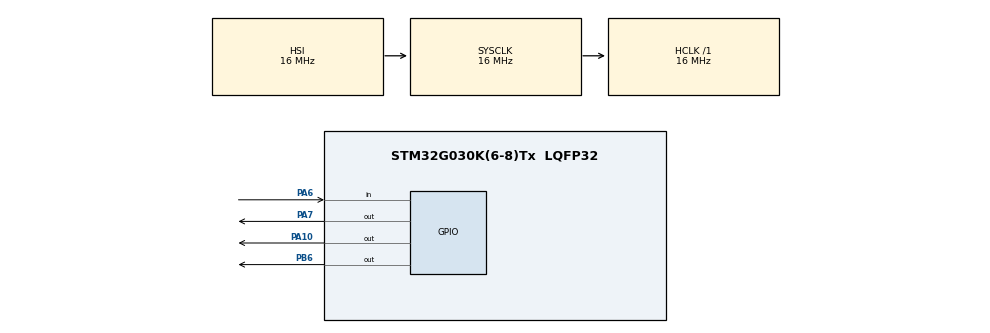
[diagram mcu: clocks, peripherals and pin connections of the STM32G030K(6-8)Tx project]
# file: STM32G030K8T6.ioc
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Mcu.Family=STM32G0
Mcu.Name=STM32G030K(6-8)Tx
Mcu.Package=LQFP32
PA10.Signal=GPIO_Output
PA6.Signal=GPIO_Input
PA7.Signal=GPIO_Output
PB6.Signal=GPIO_Output
ProjectManager.HeapSize=0x200
ProjectManager.StackSize=0x400
ProjectManager.TargetToolchain=STM32CubeIDE
RCC.AHBFreq_Value=16000000
RCC.CortexFreq_Value=16000000
RCC.EXTERNAL_CLOCK_VALUE=12288000
RCC.HCLKFreq_Value=16000000
RCC.HSE_VALUE=8000000
RCC.HSI_VALUE=16000000
RCC.LSE_VALUE=32768
RCC.SYSCLKFreq_VALUE=16000000
RCC.VCOOutputFreq_Value=128000000
board=custom

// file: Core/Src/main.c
/* USER CODE BEGIN Header */
/**
  ******************************************************************************
  * @file           : main.c
  * @brief          : Main program body
  ******************************************************************************
  * @attention
  *
  * Copyright (c) 2025 STMicroelectronics.
  * All rights reserved.
  *
  * This software is licensed under terms that can be found in the LICENSE file
  * in the root directory of this software component.
  * If no LICENSE file comes with this software, it is provided AS-IS.
  *
  ******************************************************************************
  */
/* USER CODE END Header */
#include "main.h"

/* USER CODE BEGIN PD */
#define BILL_IDLE 0
#define BILL_COUNTING 1
#define BILL_END_TIMEOUT_MS 300   // 300 мс достаточно для этого режима
#define CANDLE_TIME_MS 300000     // 5 минут
#define EARLY_VALID_PULSES 2      // зажигаем свечу после 2 импульсов — работает с 20 бат и выше, быстро (~0.2 сек)
/* USER CODE END PD */

void SystemClock_Config(void);
static void MX_GPIO_Init(void);

/* USER CODE BEGIN 0 */
/* ---- Купюроприемник ---- */
uint32_t last_edge_time = 0;
uint16_t pulse_count = 0;
uint8_t bill_state = BILL_IDLE;

uint8_t prev_pin_state = GPIO_PIN_SET;

uint8_t candle_count = 0;
uint32_t candle_off_time = 0;
uint8_t bill_processed = 0;  // 1 = купюра уже засчитана в этой серии

/* USER CODE END 0 */

int main(void)
{

  /* MCU Configuration--------------------------------------------------------*/

  /* Reset of all peripherals, Initializes the Flash interface and the Systick. */
  HAL_Init();

  /* Configure the system clock */
  SystemClock_Config();

  /* Initialize all configured peripherals */
  MX_GPIO_Init();
  /* USER CODE BEGIN 2 */
  /* --- STARTUP CANDLE SEQUENCE --- */

  // 3 раза поочерёдно
  /* --- STARTUP CANDLE SEQUENCE --- */

  // Поочерёдно
  HAL_GPIO_WritePin(GPIOA, GPIO_PIN_10, GPIO_PIN_SET); // CANDLE1
  HAL_Delay(500);
  HAL_GPIO_WritePin(GPIOA, GPIO_PIN_10, GPIO_PIN_RESET);

  HAL_GPIO_WritePin(GPIOB, GPIO_PIN_6, GPIO_PIN_SET);  // CANDLE2
  HAL_Delay(500);
  HAL_GPIO_WritePin(GPIOB, GPIO_PIN_6, GPIO_PIN_RESET);

  HAL_GPIO_WritePin(GPIOA, GPIO_PIN_7, GPIO_PIN_SET);  // CANDLE3
  HAL_Delay(500);
  HAL_GPIO_WritePin(GPIOA, GPIO_PIN_7, GPIO_PIN_RESET);

  // Все вместе на 1 секунду
  HAL_GPIO_WritePin(GPIOA, GPIO_PIN_10, GPIO_PIN_SET);
  HAL_GPIO_WritePin(GPIOB, GPIO_PIN_6, GPIO_PIN_SET);
  HAL_GPIO_WritePin(GPIOA, GPIO_PIN_7, GPIO_PIN_SET);
  HAL_Delay(500);

  // Гасим в обратном порядке
  HAL_GPIO_WritePin(GPIOA, GPIO_PIN_7, GPIO_PIN_RESET); // CANDLE3
  HAL_Delay(500);

  HAL_GPIO_WritePin(GPIOB, GPIO_PIN_6, GPIO_PIN_RESET); // CANDLE2
  HAL_Delay(500);

  HAL_GPIO_WritePin(GPIOA, GPIO_PIN_10, GPIO_PIN_RESET); // CANDLE1
  HAL_Delay(500);

  // Инициализируем prev_pin_state реальным состоянием пина
  prev_pin_state = HAL_GPIO_ReadPin(GPIOA, GPIO_PIN_6);

  /* --- END OF STARTUP SEQUENCE --- */

  /* --- END OF STARTUP SEQUENCE --- */
  // Правильная инициализация состояния датчика после старта
    prev_pin_state = HAL_GPIO_ReadPin(GPIOA, GPIO_PIN_6);
    last_edge_time = HAL_GetTick();
    bill_state = BILL_IDLE;
    pulse_count = 0;
    candle_count = 0;
    candle_off_time = 0;

  /* USER CODE END 2 */

  /* Infinite loop */
  while (1)
  {

    /* USER CODE BEGIN 3 */
	  uint32_t now = HAL_GetTick();

	  uint8_t pin_state = HAL_GPIO_ReadPin(GPIOA, GPIO_PIN_6);

	  /* ---------- Детекция импульса (FALLING EDGE) ---------- */
	  if (prev_pin_state == GPIO_PIN_SET && pin_state == GPIO_PIN_RESET)
	  {
		  last_edge_time = now;

		  if (bill_state == BILL_IDLE)
		  {
			  bill_state = BILL_COUNTING;
			  pulse_count = 0;
			  bill_processed = 0;
		  }

		  pulse_count++;

		  // Зажигаем одну свечу только один раз — после 2 импульсов
		  if (bill_state == BILL_COUNTING && pulse_count >= EARLY_VALID_PULSES && bill_processed == 0)
		  {
			  bill_processed = 1;

			  if (candle_count < 3)
			  {
				  candle_count++;

				  HAL_GPIO_WritePin(GPIOA, GPIO_PIN_10, (candle_count >= 1) ? GPIO_PIN_SET : GPIO_PIN_RESET);
				  HAL_GPIO_WritePin(GPIOB, GPIO_PIN_6, (candle_count >= 2) ? GPIO_PIN_SET : GPIO_PIN_RESET);
				  HAL_GPIO_WritePin(GPIOA, GPIO_PIN_7, (candle_count >= 3) ? GPIO_PIN_SET : GPIO_PIN_RESET);

				  candle_off_time = now + CANDLE_TIME_MS;
			  }
			  else
			  {
				  candle_off_time = now + CANDLE_TIME_MS;
			  }
		  }
	  }

	  prev_pin_state = pin_state;

	  /* ---------- Конец серии импульсов ---------- */
	  if (bill_state == BILL_COUNTING && (now - last_edge_time) > BILL_END_TIMEOUT_MS)
	  {
		  bill_state = BILL_IDLE;
		  pulse_count = 0;
		  bill_processed = 0;
	  }

	  /* ---------- Выключение свечей по таймеру ---------- */
	  if (candle_count > 0 && now >= candle_off_time)
	  {
		  HAL_GPIO_WritePin(GPIOA, GPIO_PIN_10, GPIO_PIN_RESET);
		  HAL_GPIO_WritePin(GPIOB, GPIO_PIN_6, GPIO_PIN_RESET);
		  HAL_GPIO_WritePin(GPIOA, GPIO_PIN_7, GPIO_PIN_RESET);

		  candle_count = 0;
	  }
  }
  /* USER CODE END 3 */
}

void SystemClock_Config(void)
{
  RCC_OscInitTypeDef RCC_OscInitStruct = {0};
  RCC_ClkInitTypeDef RCC_ClkInitStruct = {0};

  /** Configure the main internal regulator output voltage
  */
  HAL_PWREx_ControlVoltageScaling(PWR_REGULATOR_VOLTAGE_SCALE1);

  /** Initializes the RCC Oscillators according to the specified parameters
  * in the RCC_OscInitTypeDef structure.
  */
  RCC_OscInitStruct.OscillatorType = RCC_OSCILLATORTYPE_HSI;
  RCC_OscInitStruct.HSIState = RCC_HSI_ON;
  RCC_OscInitStruct.HSIDiv = RCC_HSI_DIV1;
  RCC_OscInitStruct.HSICalibrationValue = RCC_HSICALIBRATION_DEFAULT;
  RCC_OscInitStruct.PLL.PLLState = RCC_PLL_NONE;
  if (HAL_RCC_OscConfig(&RCC_OscInitStruct) != HAL_OK)
  {
    Error_Handler();
  }

  /** Initializes the CPU, AHB and APB buses clocks
  */
  RCC_ClkInitStruct.ClockType = RCC_CLOCKTYPE_HCLK|RCC_CLOCKTYPE_SYSCLK
                              |RCC_CLOCKTYPE_PCLK1;
  RCC_ClkInitStruct.SYSCLKSource = RCC_SYSCLKSOURCE_HSI;
  RCC_ClkInitStruct.AHBCLKDivider = RCC_SYSCLK_DIV1;
  RCC_ClkInitStruct.APB1CLKDivider = RCC_HCLK_DIV1;

  if (HAL_RCC_ClockConfig(&RCC_ClkInitStruct, FLASH_LATENCY_0) != HAL_OK)
  {
    Error_Handler();
  }
}

static void MX_GPIO_Init(void)
{
  GPIO_InitTypeDef GPIO_InitStruct = {0};

  /* GPIO Ports Clock Enable */
  __HAL_RCC_GPIOA_CLK_ENABLE();
  __HAL_RCC_GPIOB_CLK_ENABLE();

  /*Configure GPIO pin Output Level */
  HAL_GPIO_WritePin(GPIOA, GPIO_PIN_7|GPIO_PIN_10, GPIO_PIN_RESET);

  /*Configure GPIO pin Output Level */
  HAL_GPIO_WritePin(GPIOB, GPIO_PIN_6, GPIO_PIN_RESET);

  /*Configure GPIO pin : PA6 */
  GPIO_InitStruct.Pin = GPIO_PIN_6;
  GPIO_InitStruct.Mode = GPIO_MODE_INPUT;
  GPIO_InitStruct.Pull = GPIO_NOPULL;
  HAL_GPIO_Init(GPIOA, &GPIO_InitStruct);

  /*Configure GPIO pins : PA7 PA10 */
  GPIO_InitStruct.Pin = GPIO_PIN_7|GPIO_PIN_10;
  GPIO_InitStruct.Mode = GPIO_MODE_OUTPUT_PP;
  GPIO_InitStruct.Pull = GPIO_NOPULL;
  GPIO_InitStruct.Speed = GPIO_SPEED_FREQ_LOW;
  HAL_GPIO_Init(GPIOA, &GPIO_InitStruct);

  /*Configure GPIO pin : PB6 */
  GPIO_InitStruct.Pin = GPIO_PIN_6;
  GPIO_InitStruct.Mode = GPIO_MODE_OUTPUT_PP;
  GPIO_InitStruct.Pull = GPIO_NOPULL;
  GPIO_InitStruct.Speed = GPIO_SPEED_FREQ_LOW;
  HAL_GPIO_Init(GPIOB, &GPIO_InitStruct);

}

void Error_Handler(void)
{
  __disable_irq();
  while (1)
  {
  }
}
